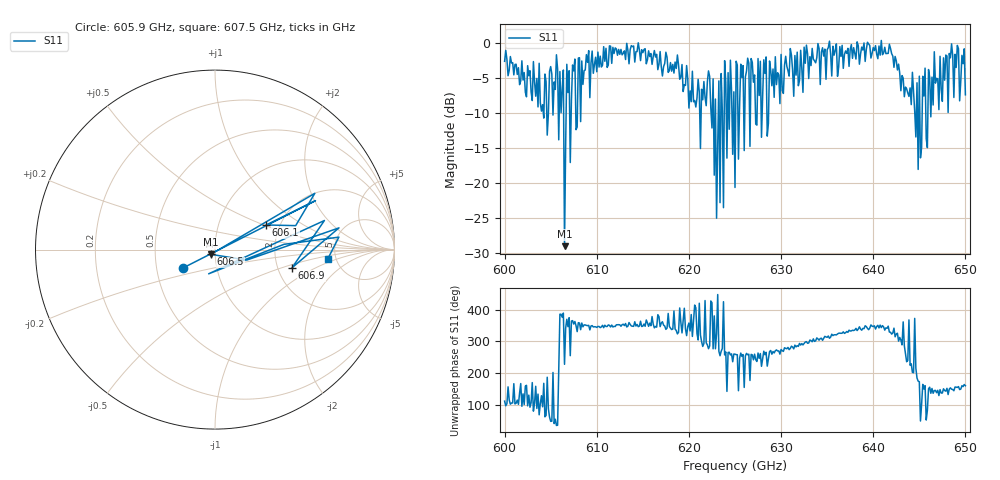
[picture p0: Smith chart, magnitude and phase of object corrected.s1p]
!Created with skrf (http://scikit-rf.org).
# GHz S MA R 50.0
!freq magS11 angS11
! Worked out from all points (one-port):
!   401 points, 600 GHz to 650 GHz, reference 50 ohm
!   lowest |S11| = -29.1 dB at 606.5 GHz (marker M1), VSWR 1.07, Z = 47.6 - j2.5 ohm
!   |S11| at or under -10 dB: 604.5727 GHz to 604.7543 GHz (181.6 MHz wide, 0.03 % of centre); 606.4053 GHz to 606.6749 GHz (269.6 MHz wide, 0.0444 % of centre); 607.72 GHz to 607.9009 GHz (180.8 MHz wide, 0.0298 % of centre) (the widest 3 of 29)
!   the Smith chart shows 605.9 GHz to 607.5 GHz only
!   S11 on the Smith chart (normalised r, x): 605.9 GHz: 0.69, -0.15; 606.1 GHz: 1.70, +0.52; 606.5 GHz: 0.95, -0.05; 606.9 GHz: 2.40, -0.60; 607.5 GHz: 4.25, -0.77
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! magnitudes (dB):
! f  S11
! 600 GHz  -2.7
! 604.5 GHz  -5.6
! 605.9 GHz  -13.9
! 606.1 GHz  -10.0
! 606.2 GHz  -6.6
! 606.5 GHz  -29.1
! 606.9 GHz  -7.1
! 607.5 GHz  -4.0
! 608 GHz  -2.2
! 608.9 GHz  -1.7
! 612.5 GHz  -1.7
! 618.8 GHz  -1.8
! 621 GHz  -5.2
! 622.4 GHz  -9.3
! 622.8 GHz  -18.9
! 623.1 GHz  -14.7
! 623.8 GHz  -23.6
! 625 GHz  -20.7
! 626.6 GHz  -14.8
! 628.8 GHz  -2.6
! 631.2 GHz  -3.9
! 637.5 GHz  -1.0
! 641.9 GHz  -0.8
! 643.8 GHz  -7.2
! 645 GHz  -4.8
! 646.6 GHz  -1.3
! 648.5 GHz  -0.2
! 650 GHz  -7.4
